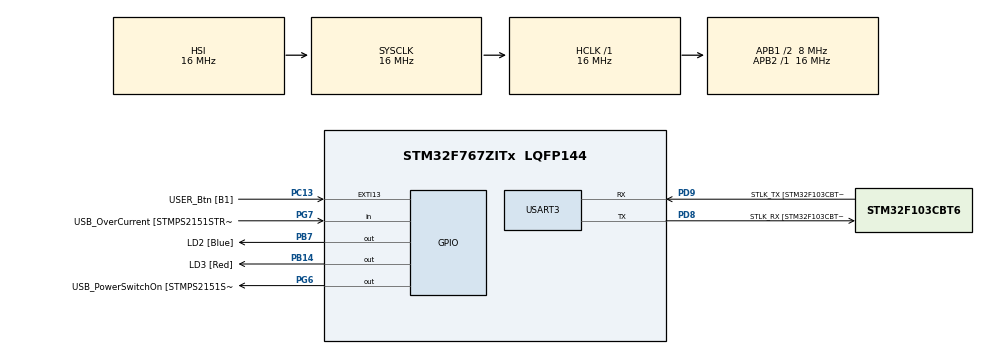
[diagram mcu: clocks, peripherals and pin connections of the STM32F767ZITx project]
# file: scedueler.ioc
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Mcu.Family=STM32F7
Mcu.Name=STM32F767ZITx
Mcu.Package=LQFP144
NVIC.PriorityGroup=NVIC_PRIORITYGROUP_4
NVIC.TIM4_IRQn=true\:0\:0\:false\:false\:true\:true\:true
PA1.GPIO_Label=RMII_REF_CLK [LAN8742A-CZ-TR_REFCLK0]
PA1.Signal=ETH_REF_CLK
PA10.GPIO_Label=USB_ID
PA10.Signal=USB_OTG_FS_ID
PA11.GPIO_Label=USB_DM
PA11.Signal=USB_OTG_FS_DM
PA12.GPIO_Label=USB_DP
PA12.Signal=USB_OTG_FS_DP
PA13.GPIO_Label=TMS
PA13.Mode=Serial_Wire
PA13.Signal=SYS_JTMS-SWDIO
PA14.GPIO_Label=TCK
PA14.Mode=Serial_Wire
PA14.Signal=SYS_JTCK-SWCLK
PA2.GPIO_Label=RMII_MDIO [LAN8742A-CZ-TR_MDIO]
PA2.Signal=ETH_MDIO
PA7.GPIO_Label=RMII_CRS_DV [LAN8742A-CZ-TR_CRS_DV]
PA7.Signal=ETH_CRS_DV
PA8.GPIO_Label=USB_SOF [TP1]
PA8.Signal=USB_OTG_FS_SOF
PA9.GPIO_Label=USB_VBUS
PA9.Signal=USB_OTG_FS_VBUS
PB13.GPIO_Label=RMII_TXD1 [LAN8742A-CZ-TR_TXD1]
PB13.Signal=ETH_TXD1
PB14.GPIO_Label=LD3 [Red]
PB14.Signal=GPIO_Output
PB3.GPIO_Label=SWO
PB3.Signal=SYS_JTDO-SWO
PB7.GPIO_Label=LD2 [Blue]
PB7.Signal=GPIO_Output
PC1.GPIO_Label=RMII_MDC [LAN8742A-CZ-TR_MDC]
PC1.Signal=ETH_MDC
PC13.GPIO_Label=USER_Btn [B1]
PC13.Signal=GPXTI13
PC14/OSC32_IN.Mode=LSE-External-Oscillator
PC14/OSC32_IN.Signal=RCC_OSC32_IN
PC15/OSC32_OUT.Mode=LSE-External-Oscillator
PC15/OSC32_OUT.Signal=RCC_OSC32_OUT
PC4.GPIO_Label=RMII_RXD0 [LAN8742A-CZ-TR_RXD0]
PC4.Signal=ETH_RXD0
PC5.GPIO_Label=RMII_RXD1 [LAN8742A-CZ-TR_RXD1]
PC5.Signal=ETH_RXD1
PD8.GPIO_Label=STLK_RX [STM32F103CBT6_PA3]
PD8.Mode=Asynchronous
PD8.Signal=USART3_TX
PD9.GPIO_Label=STLK_TX [STM32F103CBT6_PA2]
PD9.Mode=Asynchronous
PD9.Signal=USART3_RX
PG11.GPIO_Label=RMII_TX_EN [LAN8742A-CZ-TR_TXEN]
PG11.Signal=ETH_TX_EN
PG13.GPIO_Label=RMII_TXD0 [LAN8742A-CZ-TR_TXD0]
PG13.Signal=ETH_TXD0
PG6.GPIO_Label=USB_PowerSwitchOn [STMPS2151STR_EN]
PG6.Signal=GPIO_Output
PG7.GPIO_Label=USB_OverCurrent [STMPS2151STR_FAULT]
PG7.Signal=GPIO_Input
PH0/OSC_IN.GPIO_Label=MCO [STM32F103CBT6_PA8]
PH0/OSC_IN.Mode=HSE-External-Clock-Source
PH0/OSC_IN.Signal=RCC_OSC_IN
PH1/OSC_OUT.Mode=HSE-External-Clock-Source
PH1/OSC_OUT.Signal=RCC_OSC_OUT
ProjectManager.HeapSize=0x200
ProjectManager.StackSize=0x400
ProjectManager.TargetToolchain=SW4STM32
RCC.48MHZClocksFreq_Value=24000000
RCC.AHBFreq_Value=16000000
RCC.APB1CLKDivider=RCC_HCLK_DIV2
RCC.APB1Freq_Value=8000000
RCC.APB1TimFreq_Value=16000000
RCC.APB2Freq_Value=16000000
RCC.APB2TimFreq_Value=16000000
RCC.CortexFreq_Value=16000000
RCC.HCLKFreq_Value=16000000
RCC.HSE_VALUE=8000000
RCC.HSI_VALUE=16000000
RCC.PLLM=4
RCC.PLLMUL=RCC_PLL_MUL9
RCC.PLLN=96
RCC.PLLQ=4
RCC.PLLSourceVirtual=RCC_PLLSOURCE_HSE
RCC.PRESCALERUSB=RCC_USBCLKSOURCE_PLL_DIV1_5
RCC.SYSCLKFreq_VALUE=16000000
RCC.SYSCLKSourceVirtual=RCC_SYSCLKSOURCE_PLLCLK
RCC.USBFreq_Value=48000000
RCC.VCOOutputFreq_Value=192000000
TIM4.Period=53191
TIM4.Prescaler=150
USART3.VirtualMode-Asynchronous=VM_ASYNC
VP_TIM4_VS_ClockSourceINT.Mode=Internal
board=NUCLEO-F767ZI

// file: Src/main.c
/* USER CODE BEGIN Header */
/**
  ******************************************************************************
  * @file           : main.c
  * @brief          : Main program body
  ******************************************************************************
  * @attention
  *
  * <h2><center>&copy; Copyright (c) 2019 STMicroelectronics.
  * All rights reserved.</center></h2>
  *
  * This software component is licensed by ST under BSD 3-Clause license,
  * the "License"; You may not use this file except in compliance with the
  * License. You may obtain a copy of the License at:
  *                        opensource.org/licenses/BSD-3-Clause
  *
  ******************************************************************************
  */
/* USER CODE END Header */

#include "main.h"
#include <string.h>
#include <stdlib.h>
#include <stdbool.h>
#include <assert.h>

TIM_HandleTypeDef htim4;

UART_HandleTypeDef huart3;

void SystemClock_Config(void);
static void MX_GPIO_Init(void);
static void MX_TIM4_Init(void);
static void MX_USART3_UART_Init(void);

/* USER CODE BEGIN 0 */
typedef unsigned short priority_t;
typedef unsigned long (*TaskFunction_t)(char * pcName, uint16_t usStackDepth,
		void *pvParameters);
typedef struct _node {
	TaskFunction_t function;
	char * pcName;
	uint16_t usStackDepth;
	void *pvParameters;
	priority_t uxPriority;
	struct _node *next;
} node;

unsigned long TaskCreate(TaskFunction_t function, char * pcName,
		uint16_t usStackDepth, void *pvParameters, priority_t uxPriority);
bool TaskStop = false;
unsigned long TaskFunction(char * pcName, uint16_t usStackDepth,
		void *pvParameters) {

		printf("\r%s\n", pcName);

	return (unsigned long) pvParameters;
}

node *blocked = NULL;
node *running = NULL;
node *ready = NULL;

void printList() {
	node *ptr = ready;
	printf("\r[ ");

	//start from the beginning
	while (ptr != NULL) {
		printf("(%d) ", ptr->uxPriority);
		ptr = ptr->next;
	}

	printf(" ]");
}

//insert link at the first location
void insertFirst(TaskFunction_t function, char * pcName, uint16_t usStackDepth,
		void *pvParameters, int uxPriority) {
	//create a link
	node *link = (node*) malloc(sizeof(node));
	link->function = function;
	link->pcName = pcName;
	link->usStackDepth = usStackDepth;
	link->uxPriority = uxPriority;
	link->pvParameters = pvParameters;
	//point it to old first node
	link->next = ready;

	//point first to new first node
	ready = link;
}
void insertFirstNodeRunning(node* head_ref) {
	//create a link

	head_ref->next = running;

	//point first to new first node
	running = head_ref;
}
void insertFirstNodeReady(node* head_ref) {
	//create a link

	head_ref->next = ready;

	//point first to new first node
	ready = head_ref;
}
//delete first item
node* deleteFirst() {

	//save reference to first link
	node *tempLink = ready;

	//mark next to first link as first
	ready = ready->next;

	//return the deleted link
	return tempLink;
}
node* deleteFirstRunning() {

	//save reference to first link
	node *tempLink = running;

	//mark next to first link as first
	running = running->next;

	//return the deleted link
	return tempLink;
}
//is list empty
bool ReadyIsEmpty() {
	return ready == NULL;
}
bool RunningIsEmpty() {
	return running == NULL;
}
int length() {
	int length = 0;
	node *current;

	for (current = ready; current != NULL; current = current->next) {
		length++;
	}
	return length;
}

void sort() {

	int i, j, k, tempData;
	char* tempPCname;
	uint16_t tepStack;
	void* temppvParameters;
	node *current;
	node *next;

	int size = length();
	k = size;

	for (i = 0; i < size - 1; i++, k--) {
		current = ready;
		next = ready->next;

		for (j = 1; j < k; j++) {

			if (current->uxPriority < next->uxPriority) {

				tempPCname = current->pcName;
				current->pcName = next->pcName;
				next->pcName = tempPCname;

				tepStack = current->usStackDepth;
				current->usStackDepth = next->usStackDepth;
				next->usStackDepth = tepStack;

				temppvParameters = current->pvParameters;
				current->pvParameters = next->pvParameters;
				next->pvParameters = temppvParameters;

				tempData = current->uxPriority;
				current->uxPriority = next->uxPriority;
				next->uxPriority = tempData;

			}

			current = current->next;
			next = next->next;
		}
	}
}

void reverse(node* head_ref) {
	node* prev = NULL;
	node* current = head_ref;
	node* next;

	while (current != NULL) {
		next = current->next;
		current->next = prev;
		prev = current;
		current = next;
	}

	head_ref = prev;
}

unsigned long TaskCreate(TaskFunction_t function, char * pcName,
		uint16_t usStackDepth, void *pvParameters, priority_t uxPriority) {
	insertFirst(function, pcName, usStackDepth, pvParameters, uxPriority);
	return 0;
}
void HAL_TIM_PeriodElapsedCallback(TIM_HandleTypeDef *htim)
{
	//if(htim->Instance==)
	//{

		if(ready->uxPriority>running->uxPriority || ready->uxPriority==running->uxPriority)
		{
			//scheduler_switch();
			node *tempready=deleteFirst();
			node *temprunning=deleteFirstRunning();
			insertFirstNodeRunning(tempready);
			insertFirstNodeReady(temprunning);
			sort();
		}
	//}
}
/* USER CODE END 0 */

int main(void)
{

  /* MCU Configuration--------------------------------------------------------*/

  /* Reset of all peripherals, Initializes the Flash interface and the Systick. */
  HAL_Init();

  /* Configure the system clock */
  SystemClock_Config();

  /* Initialize all configured peripherals */
  MX_GPIO_Init();
  MX_TIM4_Init();
  MX_USART3_UART_Init();
  /* USER CODE BEGIN 2 */
  HAL_TIM_Base_Start_IT(&htim4);
  TaskCreate((void*) TaskFunction, "task 2", 1, (void*) 10000, 1);
  	TaskCreate((void*) TaskFunction, "task 1", 1, (void*) 10000, 1);
  	sort();
  	printList();

  	TaskFunction_t t = NULL;
  	unsigned long a = 0;
  	/* Infinite loop */
  	/* USER CODE BEGIN WHILE */
  	while (1) {
  		if (!ReadyIsEmpty()) {
  			node *temp = deleteFirst();
  			insertFirstNodeRunning(temp);
  		} else {
  			TaskCreate((void*) TaskFunction, "idle", 1, (void*) 10000, 1);
  		}
  		//printList();
  		while (!RunningIsEmpty()) {

  			t = running->function;
  			a = t(running->pcName, running->usStackDepth,
  					running->pvParameters);
  			printf("\r%lu", a);
//  			if (a == 0) {
//  				deleteFirstRunning();
//  			}

  		}

  	}
}

void SystemClock_Config(void)
{
  RCC_OscInitTypeDef RCC_OscInitStruct = {0};
  RCC_ClkInitTypeDef RCC_ClkInitStruct = {0};
  RCC_PeriphCLKInitTypeDef PeriphClkInitStruct = {0};

  /** Configure LSE Drive Capability
  */
  HAL_PWR_EnableBkUpAccess();
  /** Configure the main internal regulator output voltage
  */
  __HAL_RCC_PWR_CLK_ENABLE();
  __HAL_PWR_VOLTAGESCALING_CONFIG(PWR_REGULATOR_VOLTAGE_SCALE3);
  /** Initializes the CPU, AHB and APB busses clocks
  */
  RCC_OscInitStruct.OscillatorType = RCC_OSCILLATORTYPE_HSI;
  RCC_OscInitStruct.HSIState = RCC_HSI_ON;
  RCC_OscInitStruct.HSICalibrationValue = RCC_HSICALIBRATION_DEFAULT;
  RCC_OscInitStruct.PLL.PLLState = RCC_PLL_NONE;
  if (HAL_RCC_OscConfig(&RCC_OscInitStruct) != HAL_OK)
  {
    Error_Handler();
  }
  /** Initializes the CPU, AHB and APB busses clocks
  */
  RCC_ClkInitStruct.ClockType = RCC_CLOCKTYPE_HCLK|RCC_CLOCKTYPE_SYSCLK
                              |RCC_CLOCKTYPE_PCLK1|RCC_CLOCKTYPE_PCLK2;
  RCC_ClkInitStruct.SYSCLKSource = RCC_SYSCLKSOURCE_HSI;
  RCC_ClkInitStruct.AHBCLKDivider = RCC_SYSCLK_DIV1;
  RCC_ClkInitStruct.APB1CLKDivider = RCC_HCLK_DIV2;
  RCC_ClkInitStruct.APB2CLKDivider = RCC_HCLK_DIV1;

  if (HAL_RCC_ClockConfig(&RCC_ClkInitStruct, FLASH_LATENCY_0) != HAL_OK)
  {
    Error_Handler();
  }
  PeriphClkInitStruct.PeriphClockSelection = RCC_PERIPHCLK_USART3;
  PeriphClkInitStruct.Usart3ClockSelection = RCC_USART3CLKSOURCE_PCLK1;
  if (HAL_RCCEx_PeriphCLKConfig(&PeriphClkInitStruct) != HAL_OK)
  {
    Error_Handler();
  }
}

static void MX_TIM4_Init(void)
{

  TIM_ClockConfigTypeDef sClockSourceConfig = {0};
  TIM_MasterConfigTypeDef sMasterConfig = {0};

  htim4.Instance = TIM4;
  htim4.Init.Prescaler = 150;
  htim4.Init.CounterMode = TIM_COUNTERMODE_UP;
  htim4.Init.Period = 53191;
  htim4.Init.ClockDivision = TIM_CLOCKDIVISION_DIV1;
  htim4.Init.AutoReloadPreload = TIM_AUTORELOAD_PRELOAD_DISABLE;
  if (HAL_TIM_Base_Init(&htim4) != HAL_OK)
  {
    Error_Handler();
  }
  sClockSourceConfig.ClockSource = TIM_CLOCKSOURCE_INTERNAL;
  if (HAL_TIM_ConfigClockSource(&htim4, &sClockSourceConfig) != HAL_OK)
  {
    Error_Handler();
  }
  sMasterConfig.MasterOutputTrigger = TIM_TRGO_RESET;
  sMasterConfig.MasterSlaveMode = TIM_MASTERSLAVEMODE_DISABLE;
  if (HAL_TIMEx_MasterConfigSynchronization(&htim4, &sMasterConfig) != HAL_OK)
  {
    Error_Handler();
  }

}

static void MX_USART3_UART_Init(void)
{

  huart3.Instance = USART3;
  huart3.Init.BaudRate = 115200;
  huart3.Init.WordLength = UART_WORDLENGTH_8B;
  huart3.Init.StopBits = UART_STOPBITS_1;
  huart3.Init.Parity = UART_PARITY_NONE;
  huart3.Init.Mode = UART_MODE_TX_RX;
  huart3.Init.HwFlowCtl = UART_HWCONTROL_NONE;
  huart3.Init.OverSampling = UART_OVERSAMPLING_16;
  huart3.Init.OneBitSampling = UART_ONE_BIT_SAMPLE_DISABLE;
  huart3.AdvancedInit.AdvFeatureInit = UART_ADVFEATURE_NO_INIT;
  if (HAL_UART_Init(&huart3) != HAL_OK)
  {
    Error_Handler();
  }

}

static void MX_GPIO_Init(void)
{
  GPIO_InitTypeDef GPIO_InitStruct = {0};

  /* GPIO Ports Clock Enable */
  __HAL_RCC_GPIOC_CLK_ENABLE();
  __HAL_RCC_GPIOH_CLK_ENABLE();
  __HAL_RCC_GPIOA_CLK_ENABLE();
  __HAL_RCC_GPIOB_CLK_ENABLE();
  __HAL_RCC_GPIOD_CLK_ENABLE();
  __HAL_RCC_GPIOG_CLK_ENABLE();

  /*Configure GPIO pin Output Level */
  HAL_GPIO_WritePin(GPIOB, LD3_Pin|LD2_Pin, GPIO_PIN_RESET);

  /*Configure GPIO pin Output Level */
  HAL_GPIO_WritePin(USB_PowerSwitchOn_GPIO_Port, USB_PowerSwitchOn_Pin, GPIO_PIN_RESET);

  /*Configure GPIO pin : USER_Btn_Pin */
  GPIO_InitStruct.Pin = USER_Btn_Pin;
  GPIO_InitStruct.Mode = GPIO_MODE_IT_RISING;
  GPIO_InitStruct.Pull = GPIO_NOPULL;
  HAL_GPIO_Init(USER_Btn_GPIO_Port, &GPIO_InitStruct);

  /*Configure GPIO pins : RMII_MDC_Pin RMII_RXD0_Pin RMII_RXD1_Pin */
  GPIO_InitStruct.Pin = RMII_MDC_Pin|RMII_RXD0_Pin|RMII_RXD1_Pin;
  GPIO_InitStruct.Mode = GPIO_MODE_AF_PP;
  GPIO_InitStruct.Pull = GPIO_NOPULL;
  GPIO_InitStruct.Speed = GPIO_SPEED_FREQ_VERY_HIGH;
  GPIO_InitStruct.Alternate = GPIO_AF11_ETH;
  HAL_GPIO_Init(GPIOC, &GPIO_InitStruct);

  /*Configure GPIO pins : RMII_REF_CLK_Pin RMII_MDIO_Pin RMII_CRS_DV_Pin */
  GPIO_InitStruct.Pin = RMII_REF_CLK_Pin|RMII_MDIO_Pin|RMII_CRS_DV_Pin;
  GPIO_InitStruct.Mode = GPIO_MODE_AF_PP;
  GPIO_InitStruct.Pull = GPIO_NOPULL;
  GPIO_InitStruct.Speed = GPIO_SPEED_FREQ_VERY_HIGH;
  GPIO_InitStruct.Alternate = GPIO_AF11_ETH;
  HAL_GPIO_Init(GPIOA, &GPIO_InitStruct);

  /*Configure GPIO pin : RMII_TXD1_Pin */
  GPIO_InitStruct.Pin = RMII_TXD1_Pin;
  GPIO_InitStruct.Mode = GPIO_MODE_AF_PP;
  GPIO_InitStruct.Pull = GPIO_NOPULL;
  GPIO_InitStruct.Speed = GPIO_SPEED_FREQ_VERY_HIGH;
  GPIO_InitStruct.Alternate = GPIO_AF11_ETH;
  HAL_GPIO_Init(RMII_TXD1_GPIO_Port, &GPIO_InitStruct);

  /*Configure GPIO pins : LD3_Pin LD2_Pin */
  GPIO_InitStruct.Pin = LD3_Pin|LD2_Pin;
  GPIO_InitStruct.Mode = GPIO_MODE_OUTPUT_PP;
  GPIO_InitStruct.Pull = GPIO_NOPULL;
  GPIO_InitStruct.Speed = GPIO_SPEED_FREQ_LOW;
  HAL_GPIO_Init(GPIOB, &GPIO_InitStruct);

  /*Configure GPIO pin : USB_PowerSwitchOn_Pin */
  GPIO_InitStruct.Pin = USB_PowerSwitchOn_Pin;
  GPIO_InitStruct.Mode = GPIO_MODE_OUTPUT_PP;
  GPIO_InitStruct.Pull = GPIO_NOPULL;
  GPIO_InitStruct.Speed = GPIO_SPEED_FREQ_LOW;
  HAL_GPIO_Init(USB_PowerSwitchOn_GPIO_Port, &GPIO_InitStruct);

  /*Configure GPIO pin : USB_OverCurrent_Pin */
  GPIO_InitStruct.Pin = USB_OverCurrent_Pin;
  GPIO_InitStruct.Mode = GPIO_MODE_INPUT;
  GPIO_InitStruct.Pull = GPIO_NOPULL;
  HAL_GPIO_Init(USB_OverCurrent_GPIO_Port, &GPIO_InitStruct);

  /*Configure GPIO pins : USB_SOF_Pin USB_ID_Pin USB_DM_Pin USB_DP_Pin */
  GPIO_InitStruct.Pin = USB_SOF_Pin|USB_ID_Pin|USB_DM_Pin|USB_DP_Pin;
  GPIO_InitStruct.Mode = GPIO_MODE_AF_PP;
  GPIO_InitStruct.Pull = GPIO_NOPULL;
  GPIO_InitStruct.Speed = GPIO_SPEED_FREQ_VERY_HIGH;
  GPIO_InitStruct.Alternate = GPIO_AF10_OTG_FS;
  HAL_GPIO_Init(GPIOA, &GPIO_InitStruct);

  /*Configure GPIO pin : USB_VBUS_Pin */
  GPIO_InitStruct.Pin = USB_VBUS_Pin;
  GPIO_InitStruct.Mode = GPIO_MODE_INPUT;
  GPIO_InitStruct.Pull = GPIO_NOPULL;
  HAL_GPIO_Init(USB_VBUS_GPIO_Port, &GPIO_InitStruct);

  /*Configure GPIO pins : RMII_TX_EN_Pin RMII_TXD0_Pin */
  GPIO_InitStruct.Pin = RMII_TX_EN_Pin|RMII_TXD0_Pin;
  GPIO_InitStruct.Mode = GPIO_MODE_AF_PP;
  GPIO_InitStruct.Pull = GPIO_NOPULL;
  GPIO_InitStruct.Speed = GPIO_SPEED_FREQ_VERY_HIGH;
  GPIO_InitStruct.Alternate = GPIO_AF11_ETH;
  HAL_GPIO_Init(GPIOG, &GPIO_InitStruct);

}

int _write(int file, char *data, int len) {
	// arbitrary timeout 1000
	HAL_UART_Transmit(&huart3, (uint8_t*) data, len, 1000);
	return 0;
}

int _read(int file, char *ptr, int len) {
	HAL_UART_Receive(&huart3, (uint8_t*) ptr++, 1, 0xffff);
	HAL_UART_Transmit(&huart3, (uint8_t *) (ptr - 1), 1, 10);

	if (*(ptr - 1) == 0x0D) {
		HAL_UART_Transmit(&huart3, (uint8_t *) "\n", 1, 10);
		*(ptr - 1) = '\n';
	}

	return 1;
}

void Error_Handler(void)
{
}

/************************ (C) COPYRIGHT STMicroelectronics *****END OF FILE****/
